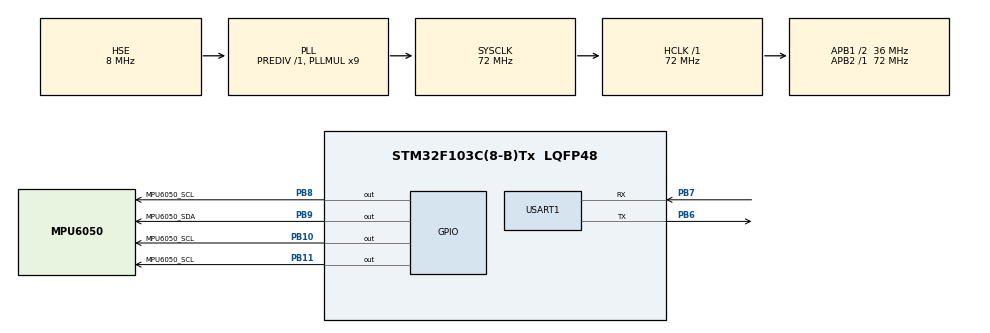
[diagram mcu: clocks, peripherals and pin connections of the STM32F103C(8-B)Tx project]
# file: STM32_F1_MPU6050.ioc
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Mcu.Family=STM32F1
Mcu.Name=STM32F103C(8-B)Tx
Mcu.Package=LQFP48
NVIC.PriorityGroup=NVIC_PRIORITYGROUP_4
PA13.Mode=Serial_Wire
PA13.Signal=SYS_JTMS-SWDIO
PA14.Mode=Serial_Wire
PA14.Signal=SYS_JTCK-SWCLK
PB10.GPIO_Label=MPU6050_SCL
PB10.GPIO_PuPd=GPIO_PULLUP
PB10.Signal=GPIO_Output
PB11.GPIO_Label=MPU6050_SCL
PB11.GPIO_PuPd=GPIO_PULLUP
PB11.Signal=GPIO_Output
PB6.Mode=Asynchronous
PB6.Signal=USART1_TX
PB7.Mode=Asynchronous
PB7.Signal=USART1_RX
PB8.GPIO_Label=MPU6050_SCL
PB8.GPIO_ModeDefaultOutputPP=GPIO_MODE_OUTPUT_OD
PB8.GPIO_PuPd=GPIO_PULLUP
PB8.GPIO_Speed=GPIO_SPEED_FREQ_HIGH
PB8.Signal=GPIO_Output
PB9.GPIO_Label=MPU6050_SDA
PB9.GPIO_ModeDefaultOutputPP=GPIO_MODE_OUTPUT_OD
PB9.GPIO_PuPd=GPIO_PULLUP
PB9.GPIO_Speed=GPIO_SPEED_FREQ_HIGH
PB9.PinState=GPIO_PIN_RESET
PB9.Signal=GPIO_Output
PD0-OSC_IN.Mode=HSE-External-Oscillator
PD0-OSC_IN.Signal=RCC_OSC_IN
PD1-OSC_OUT.Mode=HSE-External-Oscillator
PD1-OSC_OUT.Signal=RCC_OSC_OUT
ProjectManager.HeapSize=0x200
ProjectManager.StackSize=0x400
ProjectManager.TargetToolchain=MDK-ARM V5.32
RCC.AHBFreq_Value=72000000
RCC.APB1CLKDivider=RCC_HCLK_DIV2
RCC.APB1Freq_Value=36000000
RCC.APB1TimFreq_Value=72000000
RCC.APB2Freq_Value=72000000
RCC.APB2TimFreq_Value=72000000
RCC.HCLKFreq_Value=72000000
RCC.PLLMUL=RCC_PLL_MUL9
RCC.PLLSourceVirtual=RCC_PLLSOURCE_HSE
RCC.SYSCLKFreq_VALUE=72000000
RCC.SYSCLKSource=RCC_SYSCLKSOURCE_PLLCLK
RCC.USBFreq_Value=72000000
USART1.VirtualMode=VM_ASYNC
board=custom

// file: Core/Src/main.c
/* USER CODE BEGIN Header */
/**
  ******************************************************************************
  * @file           : main.c
  * @brief          : Main program body
  ******************************************************************************
  * @attention
  *
  * <h2><center>&copy; Copyright (c) 2022 STMicroelectronics.
  * All rights reserved.</center></h2>
  *
  * This software component is licensed by ST under BSD 3-Clause license,
  * the "License"; You may not use this file except in compliance with the
  * License. You may obtain a copy of the License at:
  *                        opensource.org/licenses/BSD-3-Clause
  *
  ******************************************************************************
  */
/* USER CODE END Header */
#include "main.h"
#include "usart.h"
#include "gpio.h"

/* USER CODE BEGIN Includes */
#include "stdio.h"
#include "IIC.h"
#include "mpu6050.h"
#include "inv_mpu.h"
#include "inv_mpu_dmp_motion_driver.h"
/* USER CODE END Includes */

void SystemClock_Config(void);

int main(void)
{
  /* USER CODE BEGIN 1 */
    float pitch,roll,yaw; 		    //欧拉角
    short aacx,aacy,aacz;			//加速度传感器原始数据
    short gyrox,gyroy,gyroz;		//陀螺仪原始数据
    float temp;					    //温度
  /* USER CODE END 1 */

  /* MCU Configuration--------------------------------------------------------*/

  /* Reset of all peripherals, Initializes the Flash interface and the Systick. */
  HAL_Init();

  /* Configure the system clock */
  SystemClock_Config();

  /* Initialize all configured peripherals */
  MX_GPIO_Init();
  MX_USART1_UART_Init();
  /* USER CODE BEGIN 2 */
    MPU_Init();			//MPU6050初始化
    mpu_dmp_init();		//dmp初始化
  /* USER CODE END 2 */

  /* Infinite loop */
  /* USER CODE BEGIN WHILE */
  while (1)
  {
        HAL_Delay(500);
        while(mpu_dmp_get_data(&pitch, &roll, &yaw));	//必须要用while等待，才能读取成功
        MPU_Get_Accelerometer(&aacx,&aacy, &aacz);		//得到加速度传感器数据
        MPU_Get_Gyroscope(&gyrox, &gyroy, &gyroz);		//得到陀螺仪数据
        temp=MPU_Get_Temperature();						//得到温度信息
        printf("X:%.1f°  Y:%.1f°  Z:%.1f°  %.2f°C\r\n",roll,pitch,yaw,temp/100);//串口1输出采集信息
    /* USER CODE END WHILE */

  }
}

void SystemClock_Config(void)
{
  RCC_OscInitTypeDef RCC_OscInitStruct = {0};
  RCC_ClkInitTypeDef RCC_ClkInitStruct = {0};

  /** Initializes the RCC Oscillators according to the specified parameters
  * in the RCC_OscInitTypeDef structure.
  */
  RCC_OscInitStruct.OscillatorType = RCC_OSCILLATORTYPE_HSE;
  RCC_OscInitStruct.HSEState = RCC_HSE_ON;
  RCC_OscInitStruct.HSEPredivValue = RCC_HSE_PREDIV_DIV1;
  RCC_OscInitStruct.HSIState = RCC_HSI_ON;
  RCC_OscInitStruct.PLL.PLLState = RCC_PLL_ON;
  RCC_OscInitStruct.PLL.PLLSource = RCC_PLLSOURCE_HSE;
  RCC_OscInitStruct.PLL.PLLMUL = RCC_PLL_MUL9;
  if (HAL_RCC_OscConfig(&RCC_OscInitStruct) != HAL_OK)
  {
    Error_Handler();
  }
  /** Initializes the CPU, AHB and APB buses clocks
  */
  RCC_ClkInitStruct.ClockType = RCC_CLOCKTYPE_HCLK|RCC_CLOCKTYPE_SYSCLK
                              |RCC_CLOCKTYPE_PCLK1|RCC_CLOCKTYPE_PCLK2;
  RCC_ClkInitStruct.SYSCLKSource = RCC_SYSCLKSOURCE_PLLCLK;
  RCC_ClkInitStruct.AHBCLKDivider = RCC_SYSCLK_DIV1;
  RCC_ClkInitStruct.APB1CLKDivider = RCC_HCLK_DIV2;
  RCC_ClkInitStruct.APB2CLKDivider = RCC_HCLK_DIV1;

  if (HAL_RCC_ClockConfig(&RCC_ClkInitStruct, FLASH_LATENCY_2) != HAL_OK)
  {
    Error_Handler();
  }
}

void Error_Handler(void)
{
  __disable_irq();
  while (1)
  {
  }
}

/************************ (C) COPYRIGHT STMicroelectronics *****END OF FILE****/
